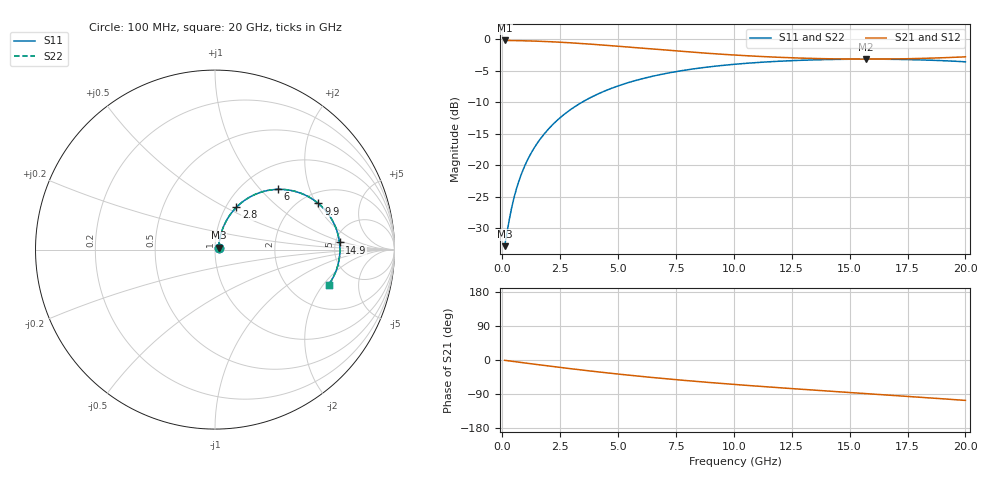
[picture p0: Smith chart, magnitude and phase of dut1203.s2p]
! Touchstone file exported from HFSS 2026.1.0
!  File:  C:/ffzhzh/LocalFiles/Ansys_Project_Files/temp_train_TSV_RDL_1203_1783318693_39728.aedt
!  Generated:  02:34:19 PM Jul  6, 2026
!  Design:  TSV_RDL
!  Project:  temp_train_TSV_RDL_1203_1783318693_39728
! Variables:
!  h_bsmrdl = 3.03um
!  h_ox = 20um
!  h_rdl = 5um
!  h_sub = 76.66um
!  h_tmrdl = 2.57um
!  h_tsv = 76.66um
!  h_via = 3um
!  l_bsmrdl = 290.13um
!  l_sub = 1827.12um
!  l_tmrdl = 119.3um
!  m_sub = 200um
!  pitch = 52.22um
!  r_tsv = 3.03um
!  s_tmrdl = 10um
!  w_bsmrdl = 11.02um
!  w_sub = 500um
!  w_tmrdl = 15.49um
!  x_tsv_center1 = 127.045um
!  x_tsv_center2 = 428.195um
!  x_tsv_center3 = 562.985um
!  x_tsv_center4 = 864.135um
!  x_tsv_center5 = 998.925um
!  x_tsv_center6 = 1300.075um
# GHz S MA R 50.000000
! Terminal data exported
! Port[1] = TM_RDL1_1_T1
! Port[2] = TM_RDL5_1_T1
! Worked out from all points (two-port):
!   200 points, 100 MHz to 20 GHz, reference 50 ohm
!   highest |S21| = -0.18 dB at 100 MHz (marker M1); lowest = -3.1 dB at 15.7 GHz (marker M2)
!   |S21| within 3 dB of the highest: start of sweep to end of sweep
!   lowest |S11| = -32.9 dB at 100 MHz (marker M3), VSWR 1.05, Z = 52.1 + j1.03 ohm
!   |S11| at or under -10 dB: start of sweep to 3.439 GHz
!   |S22| runs from -32.9 to -3.1 dB; largest |S21 - S12| = 1.2e-14
!   S11 on the Smith chart (normalised r, x): 100 MHz: 1.04, +0.02; 2.8 GHz: 1.12, +0.57; 6 GHz: 1.43, +1.25; 9.9 GHz: 2.45, +2.09; 14.9 GHz: 5.42, +0.84; 20 GHz: 3.26, -2.26
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0.1  0.02277 25.8  0.9796 -0.8  0.9796 -0.8  0.02277 25.8
! Gamma 0 0 0 0
! Port Impedance 50 0 50 0
0.3  0.03682 53.5  0.9789 -2.4  0.9789 -2.4  0.03682 53.5
0.5  0.05468 63.3  0.9777 -4.1  0.9777 -4.1  0.05468 63.3
0.7  0.07338 67.4  0.9761 -5.7  0.9761 -5.7  0.07338 67.4
1  0.1017 69.6  0.9732 -8.0  0.9732 -8.0  0.1017 69.6
1.4  0.1393 69.6  0.9683 -11.2  0.9683 -11.2  0.1393 69.6
1.8  0.1763 68.4  0.9621 -14.3  0.9621 -14.3  0.1763 68.4
2.3  0.2213 66.0  0.9528 -18.1  0.9528 -18.1  0.2213 66.0
2.8  0.2644 63.2  0.9417 -21.8  0.9417 -21.8  0.2644 63.2
3.5  0.321 58.9  0.9241 -26.9  0.9241 -26.9  0.321 58.9
4.6  0.4005 52.2  0.8929 -34.5  0.8929 -34.5  0.4005 52.2
6  0.4843 43.9  0.8512 -43.3  0.8512 -43.3  0.4843 43.9
6.8  0.5239 39.4  0.828 -48.0  0.828 -48.0  0.5239 39.4
8.2  0.5805 32.1  0.7906 -55.6  0.7906 -55.6  0.5805 32.1
9.9  0.6306 24.0  0.7527 -63.9  0.7527 -63.9  0.6306 24.1
10.1  0.6354 23.1  0.7489 -64.9  0.7489 -64.9  0.6354 23.1
11.7  0.6661 16.2  0.7231 -72.1  0.7231 -72.1  0.6661 16.2
13.4  0.6863 9.2  0.7051 -79.2  0.7051 -79.2  0.6863 9.2
14.9  0.6948 3.3  0.6973 -85.4  0.6973 -85.4  0.6948 3.3
15.7  0.6961 0.2  0.6962 -88.6  0.6962 -88.6  0.6961 0.2
16.7  0.6946 -3.7  0.6978 -92.7  0.6978 -92.7  0.6946 -3.7
20  0.663 -17.1  0.726 -106.6  0.726 -106.6  0.663 -17.1
